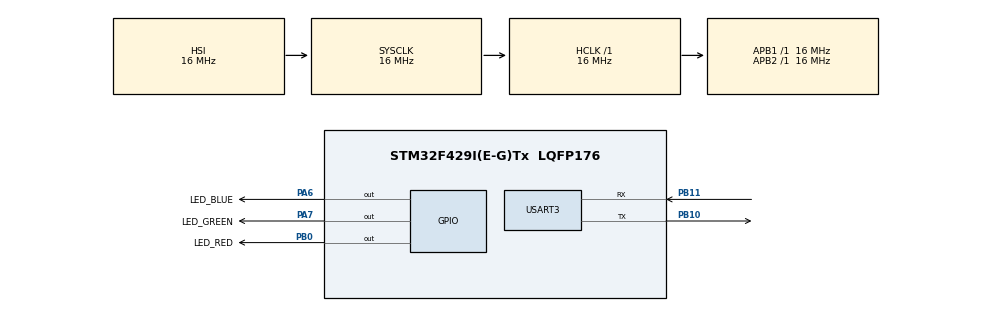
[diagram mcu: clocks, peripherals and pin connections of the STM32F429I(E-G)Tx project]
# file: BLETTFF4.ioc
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Dma.Request0=USART3_TX
Dma.Request1=USART3_RX
Dma.USART3_RX.1.Direction=DMA_PERIPH_TO_MEMORY
Dma.USART3_RX.1.FIFOMode=DMA_FIFOMODE_DISABLE
Dma.USART3_RX.1.Instance=DMA1_Stream1
Dma.USART3_RX.1.MemDataAlignment=DMA_MDATAALIGN_BYTE
Dma.USART3_RX.1.MemInc=DMA_MINC_ENABLE
Dma.USART3_RX.1.Mode=DMA_NORMAL
Dma.USART3_RX.1.PeriphDataAlignment=DMA_PDATAALIGN_BYTE
Dma.USART3_RX.1.PeriphInc=DMA_PINC_DISABLE
Dma.USART3_RX.1.Priority=DMA_PRIORITY_LOW
Dma.USART3_TX.0.Direction=DMA_MEMORY_TO_PERIPH
Dma.USART3_TX.0.FIFOMode=DMA_FIFOMODE_DISABLE
Dma.USART3_TX.0.Instance=DMA1_Stream3
Dma.USART3_TX.0.MemDataAlignment=DMA_MDATAALIGN_BYTE
Dma.USART3_TX.0.MemInc=DMA_MINC_ENABLE
Dma.USART3_TX.0.Mode=DMA_NORMAL
Dma.USART3_TX.0.PeriphDataAlignment=DMA_PDATAALIGN_BYTE
Dma.USART3_TX.0.PeriphInc=DMA_PINC_DISABLE
Dma.USART3_TX.0.Priority=DMA_PRIORITY_LOW
Mcu.Family=STM32F4
Mcu.Name=STM32F429I(E-G)Tx
Mcu.Package=LQFP176
NVIC.DMA1_Stream1_IRQn=true\:0\:0\:false\:false\:true\:false\:true\:true
NVIC.DMA1_Stream3_IRQn=true\:0\:0\:false\:false\:true\:false\:true\:true
NVIC.PriorityGroup=NVIC_PRIORITYGROUP_4
NVIC.USART3_IRQn=true\:0\:0\:false\:false\:true\:true\:true\:true
PA13.Mode=Serial_Wire
PA13.Signal=SYS_JTMS-SWDIO
PA14.Mode=Serial_Wire
PA14.Signal=SYS_JTCK-SWCLK
PA6.GPIO_Label=LED_BLUE
PA6.Signal=GPIO_Output
PA7.GPIO_Label=LED_GREEN
PA7.Signal=GPIO_Output
PB0.GPIO_Label=LED_RED
PB0.Signal=GPIO_Output
PB10.Mode=Asynchronous
PB10.Signal=USART3_TX
PB11.Mode=Asynchronous
PB11.Signal=USART3_RX
ProjectManager.HeapSize=0x200
ProjectManager.StackSize=0x400
ProjectManager.TargetToolchain=STM32CubeIDE
RCC.AHBFreq_Value=16000000
RCC.APB1Freq_Value=16000000
RCC.APB2Freq_Value=16000000
RCC.CortexFreq_Value=16000000
RCC.HSE_VALUE=25000000
RCC.HSI_VALUE=16000000
RCC.LSE_VALUE=32768
RCC.SYSCLKFreq_VALUE=16000000
RCC.VCOOutputFreq_Value=192000000
USART3.VirtualMode=VM_ASYNC
board=custom

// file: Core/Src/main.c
/* USER CODE BEGIN Header */
/**
  ******************************************************************************
  * @file           : main.c
  * @brief          : Main program body
  ******************************************************************************
  * @attention
  *
  * Copyright (c) 2026 STMicroelectronics.
  * All rights reserved.
  *
  * This software is licensed under terms that can be found in the LICENSE file
  * in the root directory of this software component.
  * If no LICENSE file comes with this software, it is provided AS-IS.
  *
  ******************************************************************************
  */
/* USER CODE END Header */
#include "main.h"

/* USER CODE BEGIN Includes */
#include <string.h>
#include "wave_plotter.h"
#include "fft_processor.h"
/* USER CODE END Includes */

UART_HandleTypeDef huart3;
DMA_HandleTypeDef hdma_usart3_tx;
DMA_HandleTypeDef hdma_usart3_rx;

/* USER CODE BEGIN PV */
uint8_t receiveData[50];
/* USER CODE END PV */

void SystemClock_Config(void);
static void MX_GPIO_Init(void);
static void MX_DMA_Init(void);
static void MX_USART3_UART_Init(void);

/* USER CODE BEGIN 0 */
#define WAVE_POINTS 64  /* 正弦波每周期采样点数 */

static const int sineTable[WAVE_POINTS] = {
    2048, 2249, 2447, 2642, 2831, 3013, 3185, 3347,
    3495, 3630, 3750, 3853, 3939, 4007, 4056, 4085,
    4095, 4085, 4056, 4007, 3939, 3853, 3750, 3630,
    3495, 3347, 3185, 3013, 2831, 2642, 2447, 2249,
    2048, 1847, 1649, 1454, 1265, 1083,  911,  749,
     601,  466,  346,  243,  157,   89,   40,   11,
       1,   11,   40,   89,  157,  243,  346,  466,
     601,  749,  911, 1083, 1265, 1454, 1649, 1847
};

void HAL_UARTEx_RxEventCallback(UART_HandleTypeDef *huart, uint16_t Size)
{
    if (huart == &huart3)
    {
        HAL_UARTEx_ReceiveToIdle_DMA(&huart3, receiveData, sizeof(receiveData));
        __HAL_DMA_DISABLE_IT(&hdma_usart3_rx, DMA_IT_HT);
    }
}
/* USER CODE END 0 */

int main(void)
{

  /* MCU Configuration--------------------------------------------------------*/

  /* Reset of all peripherals, Initializes the Flash interface and the Systick. */
  HAL_Init();

  /* Configure the system clock */
  SystemClock_Config();

  /* Initialize all configured peripherals */
  MX_GPIO_Init();
  MX_DMA_Init();
  MX_USART3_UART_Init();
  /* USER CODE BEGIN 2 */
  HAL_UARTEx_ReceiveToIdle_DMA(&huart3, receiveData, sizeof(receiveData));
  __HAL_DMA_DISABLE_IT(&hdma_usart3_rx, DMA_IT_HT);
  HAL_Delay(100);
  /* USER CODE END 2 */

  /* Infinite loop */
  while (1)
  {
	  /* USER CODE BEGIN 3 */
	  /* 方式一：发送 FFT 频谱（当前启用） */
	  FFT_ProcessAndSend(&huart3, (int *)sineTable, WAVE_POINTS);
	  HAL_Delay(50);

	  /* 方式二：发送时域波形（需要时取消注释，注释掉上面 FFT 那行） */
	  /* Plotter_Send_1CH(&huart3, (int *)sineTable, WAVE_POINTS); */
	  /* HAL_Delay(50); */
	  /* USER CODE END 3 */
  }
}

void SystemClock_Config(void)
{
  RCC_OscInitTypeDef RCC_OscInitStruct = {0};
  RCC_ClkInitTypeDef RCC_ClkInitStruct = {0};

  /** Configure the main internal regulator output voltage
  */
  __HAL_RCC_PWR_CLK_ENABLE();
  __HAL_PWR_VOLTAGESCALING_CONFIG(PWR_REGULATOR_VOLTAGE_SCALE3);

  /** Initializes the RCC Oscillators according to the specified parameters
  * in the RCC_OscInitTypeDef structure.
  */
  RCC_OscInitStruct.OscillatorType = RCC_OSCILLATORTYPE_HSI;
  RCC_OscInitStruct.HSIState = RCC_HSI_ON;
  RCC_OscInitStruct.HSICalibrationValue = RCC_HSICALIBRATION_DEFAULT;
  RCC_OscInitStruct.PLL.PLLState = RCC_PLL_NONE;
  if (HAL_RCC_OscConfig(&RCC_OscInitStruct) != HAL_OK)
  {
    Error_Handler();
  }

  /** Initializes the CPU, AHB and APB buses clocks
  */
  RCC_ClkInitStruct.ClockType = RCC_CLOCKTYPE_HCLK|RCC_CLOCKTYPE_SYSCLK
                              |RCC_CLOCKTYPE_PCLK1|RCC_CLOCKTYPE_PCLK2;
  RCC_ClkInitStruct.SYSCLKSource = RCC_SYSCLKSOURCE_HSI;
  RCC_ClkInitStruct.AHBCLKDivider = RCC_SYSCLK_DIV1;
  RCC_ClkInitStruct.APB1CLKDivider = RCC_HCLK_DIV1;
  RCC_ClkInitStruct.APB2CLKDivider = RCC_HCLK_DIV1;

  if (HAL_RCC_ClockConfig(&RCC_ClkInitStruct, FLASH_LATENCY_0) != HAL_OK)
  {
    Error_Handler();
  }
}

static void MX_USART3_UART_Init(void)
{

  huart3.Instance = USART3;
  huart3.Init.BaudRate = 115200;
  huart3.Init.WordLength = UART_WORDLENGTH_8B;
  huart3.Init.StopBits = UART_STOPBITS_1;
  huart3.Init.Parity = UART_PARITY_NONE;
  huart3.Init.Mode = UART_MODE_TX_RX;
  huart3.Init.HwFlowCtl = UART_HWCONTROL_NONE;
  huart3.Init.OverSampling = UART_OVERSAMPLING_16;
  if (HAL_UART_Init(&huart3) != HAL_OK)
  {
    Error_Handler();
  }

}

static void MX_DMA_Init(void)
{

  /* DMA controller clock enable */
  __HAL_RCC_DMA1_CLK_ENABLE();

  /* DMA interrupt init */
  /* DMA1_Stream1_IRQn interrupt configuration */
  HAL_NVIC_SetPriority(DMA1_Stream1_IRQn, 0, 0);
  HAL_NVIC_EnableIRQ(DMA1_Stream1_IRQn);
  /* DMA1_Stream3_IRQn interrupt configuration */
  HAL_NVIC_SetPriority(DMA1_Stream3_IRQn, 0, 0);
  HAL_NVIC_EnableIRQ(DMA1_Stream3_IRQn);

}

static void MX_GPIO_Init(void)
{
  GPIO_InitTypeDef GPIO_InitStruct = {0};

  /* GPIO Ports Clock Enable */
  __HAL_RCC_GPIOA_CLK_ENABLE();
  __HAL_RCC_GPIOB_CLK_ENABLE();

  /*Configure GPIO pin Output Level */
  HAL_GPIO_WritePin(GPIOA, LED_BLUE_Pin|LED_GREEN_Pin, GPIO_PIN_RESET);

  /*Configure GPIO pin Output Level */
  HAL_GPIO_WritePin(LED_RED_GPIO_Port, LED_RED_Pin, GPIO_PIN_RESET);

  /*Configure GPIO pins : LED_BLUE_Pin LED_GREEN_Pin */
  GPIO_InitStruct.Pin = LED_BLUE_Pin|LED_GREEN_Pin;
  GPIO_InitStruct.Mode = GPIO_MODE_OUTPUT_PP;
  GPIO_InitStruct.Pull = GPIO_NOPULL;
  GPIO_InitStruct.Speed = GPIO_SPEED_FREQ_LOW;
  HAL_GPIO_Init(GPIOA, &GPIO_InitStruct);

  /*Configure GPIO pin : LED_RED_Pin */
  GPIO_InitStruct.Pin = LED_RED_Pin;
  GPIO_InitStruct.Mode = GPIO_MODE_OUTPUT_PP;
  GPIO_InitStruct.Pull = GPIO_NOPULL;
  GPIO_InitStruct.Speed = GPIO_SPEED_FREQ_LOW;
  HAL_GPIO_Init(LED_RED_GPIO_Port, &GPIO_InitStruct);

}

void Error_Handler(void)
{
  __disable_irq();
  while (1)
  {
  }
}
